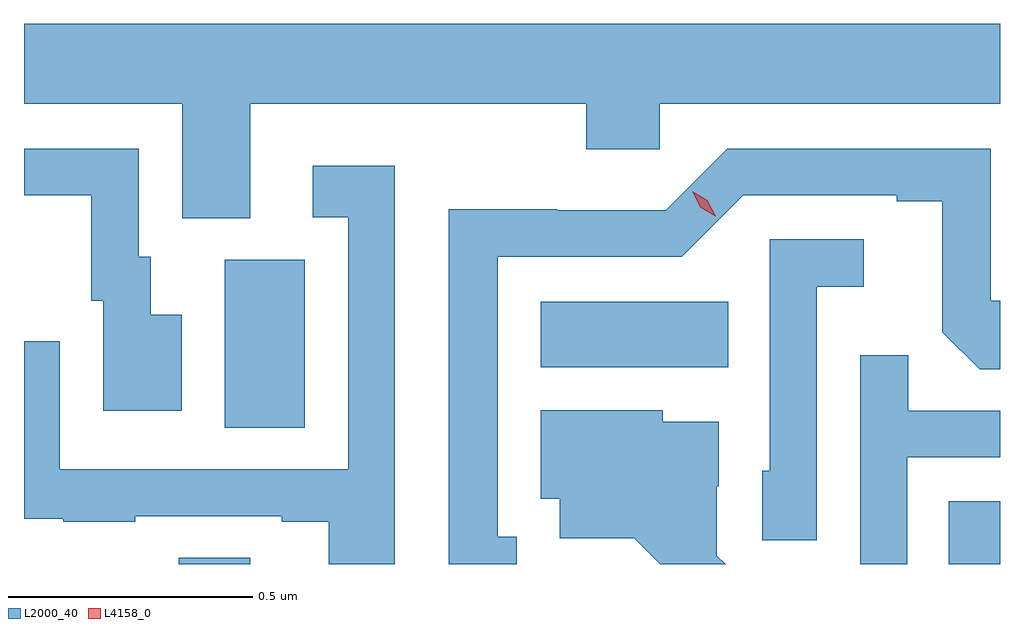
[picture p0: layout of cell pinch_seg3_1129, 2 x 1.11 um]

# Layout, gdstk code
import gdstk
lib = gdstk.Library(unit=1e-6, precision=1e-09)
def R(c, l, rs):  # rectangles x0, y0, x1, y1
    for r in rs: c.add(gdstk.rectangle(r[:2], r[2:], *l))
def P(c, l, *ps):  # polygons
    for p in ps: c.add(gdstk.Polygon(p, *l))
L2000_40 = (2000, 40)
L4158_0 = (4158, 0)

pinch_seg3_1129 = lib.new_cell('pinch_seg3_1129')
R(pinch_seg3_1129, L2000_40, [(324.664,717.288,324.811,717.302), (326.242,717.288,326.347,717.417), (324.758,717.568,324.922,717.912), (325.406,717.692,325.79,717.826)])
P(pinch_seg3_1129, L2000_40, [(324.811,718.232),(325.499,718.232),(325.499,718.139),(325.65,718.139),(325.65,718.232),(326.347,718.232),(326.347,718.396),(324.347,718.396),(324.347,718.232),(324.671,718.232),(324.671,717.997),(324.811,717.997)],
  [(324.67,717.799),(324.607,717.799),(324.607,717.918),(324.582,717.918),(324.582,718.14),(324.347,718.14),(324.347,718.044),(324.485,718.044),(324.485,717.828),(324.509,717.828),(324.509,717.603),(324.67,717.603)],
  [(325.357,717.345),(325.318,717.345),(325.318,717.918),(325.695,717.918),(325.821,718.044),(326.135,718.044),(326.135,718.032),(326.229,718.032),(326.229,717.764),(326.305,717.688),(326.347,717.688),(326.347,717.828),(326.328,717.828),(326.328,718.14),(325.788,718.14),(325.662,718.014),(325.44,718.014),(325.44,718.016),(325.217,718.016),(325.217,717.288),(325.357,717.288)],
  [(325.107,718.105),(324.939,718.105),(324.939,717.999),(325.011,717.999),(325.011,717.483),(324.42,717.483),(324.42,717.745),(324.347,717.745),(324.347,717.381),(324.427,717.381),(324.427,717.375),(324.575,717.375),(324.575,717.387),(324.875,717.387),(324.875,717.375),(324.971,717.375),(324.971,717.288),(325.107,717.288)],
  [(325.971,717.857),(326.068,717.857),(326.068,717.954),(325.875,717.954),(325.875,717.48),(325.86,717.48),(325.86,717.337),(325.971,717.337)],
  [(326.157,717.507),(326.347,717.507),(326.347,717.603),(326.159,717.603),(326.159,717.716),(326.061,717.716),(326.061,717.288),(326.157,717.288)],
  [(325.767,717.306),(325.767,717.448),(325.771,717.448),(325.771,717.58),(325.656,717.58),(325.656,717.604),(325.406,717.604),(325.406,717.422),(325.445,717.422),(325.445,717.341),(325.597,717.341),(325.651,717.288),(325.785,717.288)])
P(pinch_seg3_1129, L4158_0, [(325.764,718.001),(325.733,718.02),(325.716,718.053),(325.716,718.053),(325.716,718.053),(325.747,718.034),(325.765,718.001),(325.765,718.001)])

lib.write_gds('pinch_seg3_1129.gds')
